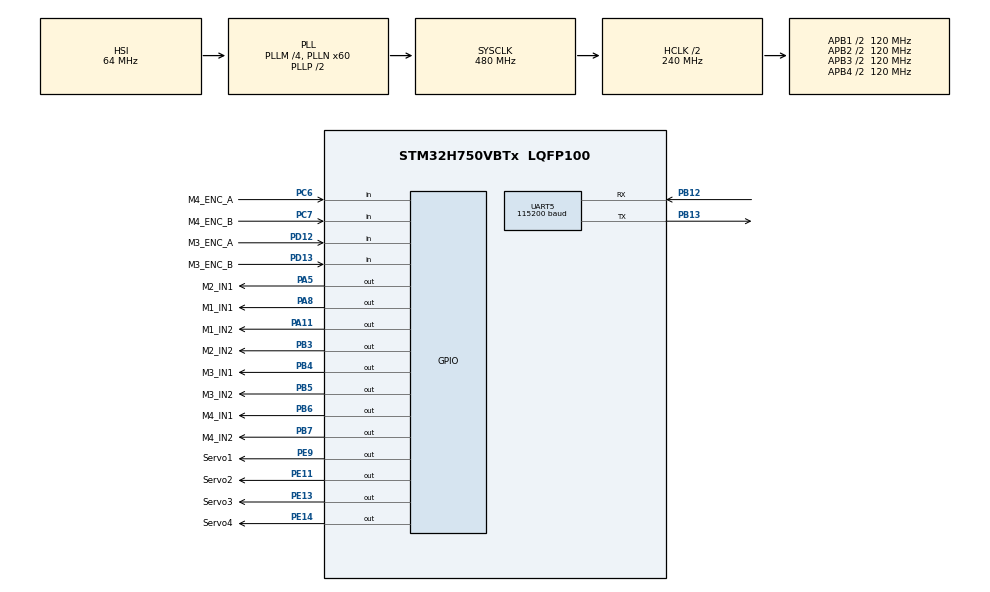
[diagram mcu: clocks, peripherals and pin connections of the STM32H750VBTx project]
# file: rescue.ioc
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CORTEX_M7.default_mode_Activation=1
FREERTOS.Tasks01=robot_task,16,256,robot_task_entry,Default,NULL,Dynamic,NULL,NULL;debug_task,8,768,debug_task_entry,Default,NULL,Dynamic,NULL,NULL
FREERTOS.configUSE_NEWLIB_REENTRANT=1
Mcu.Family=STM32H7
Mcu.Name=STM32H750VBTx
Mcu.Package=LQFP100
NVIC.PriorityGroup=NVIC_PRIORITYGROUP_4
NVIC.TIM17_IRQn=true\:15\:0\:false\:false\:true\:false\:false\:true\:true
NVIC.TimeBase=TIM17_IRQn
NVIC.TimeBaseIP=TIM17
NVIC.UART5_IRQn=true\:7\:0\:true\:false\:true\:false\:true\:true\:true
PA11.GPIO_Label=M1_IN2
PA11.GPIO_PuPd=GPIO_PULLDOWN
PA11.Signal=GPIO_Output
PA13.Mode=Serial_Wire
PA13.Signal=SYS_JTMS-SWDIO
PA14.Mode=Serial_Wire
PA14.Signal=SYS_JTCK-SWCLK
PA5.GPIO_Label=M2_IN1
PA5.GPIO_PuPd=GPIO_PULLDOWN
PA5.Signal=GPIO_Output
PA8.GPIO_Label=M1_IN1
PA8.GPIO_PuPd=GPIO_PULLDOWN
PA8.Signal=GPIO_Output
PB12.Mode=Asynchronous
PB12.Signal=UART5_RX
PB13.Mode=Asynchronous
PB13.Signal=UART5_TX
PB3.GPIO_Label=M2_IN2
PB3.GPIO_PuPd=GPIO_PULLDOWN
PB3.Signal=GPIO_Output
PB4.GPIO_Label=M3_IN1
PB4.GPIO_PuPd=GPIO_PULLDOWN
PB4.Signal=GPIO_Output
PB5.GPIO_Label=M3_IN2
PB5.GPIO_PuPd=GPIO_PULLDOWN
PB5.Signal=GPIO_Output
PB6.GPIO_Label=M4_IN1
PB6.GPIO_PuPd=GPIO_PULLDOWN
PB6.Signal=GPIO_Output
PB7.GPIO_Label=M4_IN2
PB7.GPIO_PuPd=GPIO_PULLDOWN
PB7.Signal=GPIO_Output
PC6.GPIO_Label=M4_ENC_A
PC6.GPIO_PuPd=GPIO_NOPULL
PC6.Signal=GPIO_Input
PC7.GPIO_Label=M4_ENC_B
PC7.GPIO_PuPd=GPIO_NOPULL
PC7.Signal=GPIO_Input
PD12.GPIO_Label=M3_ENC_A
PD12.GPIO_PuPd=GPIO_NOPULL
PD12.Signal=GPIO_Input
PD13.GPIO_Label=M3_ENC_B
PD13.GPIO_PuPd=GPIO_NOPULL
PD13.Signal=GPIO_Input
PE11.GPIO_Label=Servo2
PE11.GPIO_PuPd=GPIO_PULLDOWN
PE11.Signal=GPIO_Output
PE13.GPIO_Label=Servo3
PE13.GPIO_PuPd=GPIO_PULLDOWN
PE13.Signal=GPIO_Output
PE14.GPIO_Label=Servo4
PE14.GPIO_PuPd=GPIO_PULLDOWN
PE14.Signal=GPIO_Output
PE9.GPIO_Label=Servo1
PE9.GPIO_PuPd=GPIO_PULLDOWN
PE9.Signal=GPIO_Output
ProjectManager.HeapSize=0x200
ProjectManager.StackSize=0x400
ProjectManager.TargetToolchain=STM32CubeIDE
RCC.ADCFreq_Value=129000000
RCC.APB1Freq_Value=120000000
RCC.APB2Freq_Value=120000000
RCC.APB3Freq_Value=120000000
RCC.APB4Freq_Value=120000000
RCC.CortexFreq_Value=480000000
RCC.D1PPRE=RCC_APB3_DIV2
RCC.D2PPRE1=RCC_APB1_DIV2
RCC.D2PPRE2=RCC_APB2_DIV2
RCC.D3PPRE=RCC_APB4_DIV2
RCC.DIVM1=4
RCC.DIVN1=60
RCC.DIVQ1=15
RCC.HCLKFreq_Value=240000000
RCC.HPRE=RCC_HCLK_DIV2
RCC.HSE_VALUE=4000000
RCC.PLL2FRACN=0
RCC.PLL3FRACN=0
RCC.PLLFRACN=0
RCC.SYSCLKFreq_VALUE=480000000
RCC.SYSCLKSource=RCC_SYSCLKSOURCE_PLLCLK
RCC.USBCLockSelection=RCC_USBCLKSOURCE_HSI48
RCC.USBFreq_Value=48000000
SYS.Debug=Serial_Wire
UART5.BaudRate=115200
VP_FREERTOS_VS_CMSIS_V2.Mode=CMSIS_V2
VP_MEMORYMAP_VS_MEMORYMAP.Mode=CurAppReg
VP_SYS_VS_tim17.Mode=TIM17
board=custom

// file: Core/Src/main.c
/* USER CODE BEGIN Header */
/**
  ******************************************************************************
  * @file           : main.c
  * @brief          : Main program body
  ******************************************************************************
  * @attention
  *
  * Copyright (c) 2026 STMicroelectronics.
  * All rights reserved.
  *
  * This software is licensed under terms that can be found in the LICENSE file
  * in the root directory of this software component.
  * If no LICENSE file comes with this software, it is provided AS-IS.
  *
  ******************************************************************************
  */
/* USER CODE END Header */
#include "main.h"
#include "cmsis_os.h"
#include "gpio.h"

/* USER CODE BEGIN Includes */
#include "usart.h"
#include "robot_app.h"
#include "bsp/board_outputs.h"

/* USER CODE END Includes */

void SystemClock_Config(void);
static void MPU_Config(void);
void MX_FREERTOS_Init(void);

int main(void)
{

  /* USER CODE BEGIN 1 */
  /* 时钟和 HAL 初始化之前先固定新版驱动输入。 */
  board_outputs_disable();

  /* USER CODE END 1 */

  /* MPU Configuration--------------------------------------------------------*/
  MPU_Config();

  /* MCU Configuration--------------------------------------------------------*/

  /* Reset of all peripherals, Initializes the Flash interface and the Systick. */
  HAL_Init();

  /* Configure the system clock */
  SystemClock_Config();

  /* Initialize all configured peripherals */
  MX_GPIO_Init();
  MX_UART5_Init();

  /* Init scheduler */
  osKernelInitialize();  /* Call init function for freertos objects (in cmsis_os2.c) */
  MX_FREERTOS_Init();

  /* Start scheduler */
  osKernelStart();

  /* We should never get here as control is now taken by the scheduler */

  /* Infinite loop */
  /* USER CODE BEGIN WHILE */
  /* 调度器启动失败时进入错误入口，避免静默停留在空循环。 */
  Error_Handler();
  while (1)
  {
    /* USER CODE END WHILE */

  }
}

void SystemClock_Config(void)
{
  RCC_OscInitTypeDef RCC_OscInitStruct = {0};
  RCC_ClkInitTypeDef RCC_ClkInitStruct = {0};

  /** Supply configuration update enable
  */
  HAL_PWREx_ConfigSupply(PWR_LDO_SUPPLY);

  /** Configure the main internal regulator output voltage
  */
  __HAL_PWR_VOLTAGESCALING_CONFIG(PWR_REGULATOR_VOLTAGE_SCALE0);

  while(!__HAL_PWR_GET_FLAG(PWR_FLAG_VOSRDY)) {}

  /** Initializes the RCC Oscillators according to the specified parameters
  * in the RCC_OscInitTypeDef structure.
  */
  RCC_OscInitStruct.OscillatorType = RCC_OSCILLATORTYPE_HSI;
  RCC_OscInitStruct.HSIState = RCC_HSI_DIV1;
  RCC_OscInitStruct.HSICalibrationValue = RCC_HSICALIBRATION_DEFAULT;
  RCC_OscInitStruct.PLL.PLLState = RCC_PLL_ON;
  RCC_OscInitStruct.PLL.PLLSource = RCC_PLLSOURCE_HSI;
  RCC_OscInitStruct.PLL.PLLM = 4;
  RCC_OscInitStruct.PLL.PLLN = 60;
  RCC_OscInitStruct.PLL.PLLP = 2;
  RCC_OscInitStruct.PLL.PLLQ = 15;
  RCC_OscInitStruct.PLL.PLLR = 2;
  RCC_OscInitStruct.PLL.PLLRGE = RCC_PLL1VCIRANGE_3;
  RCC_OscInitStruct.PLL.PLLVCOSEL = RCC_PLL1VCOWIDE;
  RCC_OscInitStruct.PLL.PLLFRACN = 0;
  if (HAL_RCC_OscConfig(&RCC_OscInitStruct) != HAL_OK)
  {
    Error_Handler();
  }

  /** Initializes the CPU, AHB and APB buses clocks
  */
  RCC_ClkInitStruct.ClockType = RCC_CLOCKTYPE_HCLK|RCC_CLOCKTYPE_SYSCLK
                              |RCC_CLOCKTYPE_PCLK1|RCC_CLOCKTYPE_PCLK2
                              |RCC_CLOCKTYPE_D3PCLK1|RCC_CLOCKTYPE_D1PCLK1;
  RCC_ClkInitStruct.SYSCLKSource = RCC_SYSCLKSOURCE_PLLCLK;
  RCC_ClkInitStruct.SYSCLKDivider = RCC_SYSCLK_DIV1;
  RCC_ClkInitStruct.AHBCLKDivider = RCC_HCLK_DIV2;
  RCC_ClkInitStruct.APB3CLKDivider = RCC_APB3_DIV2;
  RCC_ClkInitStruct.APB1CLKDivider = RCC_APB1_DIV2;
  RCC_ClkInitStruct.APB2CLKDivider = RCC_APB2_DIV2;
  RCC_ClkInitStruct.APB4CLKDivider = RCC_APB4_DIV2;

  if (HAL_RCC_ClockConfig(&RCC_ClkInitStruct, FLASH_LATENCY_4) != HAL_OK)
  {
    Error_Handler();
  }
}

 /* MPU Configuration */

void MPU_Config(void)
{
  MPU_Region_InitTypeDef MPU_InitStruct = {0};

  /* Disables the MPU */
  HAL_MPU_Disable();

  /** Initializes and configures the Region and the memory to be protected
  */
  MPU_InitStruct.Enable = MPU_REGION_ENABLE;
  MPU_InitStruct.Number = MPU_REGION_NUMBER0;
  MPU_InitStruct.BaseAddress = 0x0;
  MPU_InitStruct.Size = MPU_REGION_SIZE_4GB;
  MPU_InitStruct.SubRegionDisable = 0x87;
  MPU_InitStruct.TypeExtField = MPU_TEX_LEVEL0;
  MPU_InitStruct.AccessPermission = MPU_REGION_NO_ACCESS;
  MPU_InitStruct.DisableExec = MPU_INSTRUCTION_ACCESS_DISABLE;
  MPU_InitStruct.IsShareable = MPU_ACCESS_SHAREABLE;
  MPU_InitStruct.IsCacheable = MPU_ACCESS_NOT_CACHEABLE;
  MPU_InitStruct.IsBufferable = MPU_ACCESS_NOT_BUFFERABLE;

  HAL_MPU_ConfigRegion(&MPU_InitStruct);
  /* Enables the MPU */
  HAL_MPU_Enable(MPU_PRIVILEGED_DEFAULT);

}

void HAL_TIM_PeriodElapsedCallback(TIM_HandleTypeDef *htim)
{
  if (htim->Instance == TIM17)
  {
    HAL_IncTick();
  }
}

void Error_Handler(void)
{
  /* USER CODE BEGIN Error_Handler_Debug */
  /* 故障时直接将全部驱动输入拉低，不依赖任务调度。 */
  __disable_irq();
  board_outputs_disable();
  while (1)
  {
  }
  /* USER CODE END Error_Handler_Debug */
}

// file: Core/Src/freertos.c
/* USER CODE BEGIN Header */
/**
  ******************************************************************************
  * File Name          : freertos.c
  * Description        : Code for freertos applications
  ******************************************************************************
  * @attention
  *
  * Copyright (c) 2026 STMicroelectronics.
  * All rights reserved.
  *
  * This software is licensed under terms that can be found in the LICENSE file
  * in the root directory of this software component.
  * If no LICENSE file comes with this software, it is provided AS-IS.
  *
  ******************************************************************************
  */
/* USER CODE END Header */

#include "FreeRTOS.h"
#include "task.h"
#include "main.h"
#include "cmsis_os.h"

/* USER CODE BEGIN Includes */
#include "robot_app.h"
#include "debug/debug_console.h"
/* USER CODE END Includes */

/* Definitions for robot_task */
osThreadId_t robot_taskHandle;
const osThreadAttr_t robot_task_attributes = {
  .name = "robot_task",
  .stack_size = 256 * 4,
  .priority = (osPriority_t) osPriorityBelowNormal,
};

/* Definitions for debug_task */
osThreadId_t debug_taskHandle;
const osThreadAttr_t debug_task_attributes = {
  .name = "debug_task",
  .stack_size = 768 * 4,
  .priority = (osPriority_t) osPriorityLow,
};

void robot_task_entry(void *argument);
void debug_task_entry(void *argument);

void MX_FREERTOS_Init(void); /* (MISRA C 2004 rule 8.1) */

void MX_FREERTOS_Init(void) {
  /* USER CODE BEGIN Init */
  /* 基础时基固定为 1 ms 的 RTOS 节拍，初始化失败时不创建应用任务。 */
  if (osKernelGetState() != osKernelReady || osKernelGetTickFreq() != 1000U)
  {
    Error_Handler();
  }
  /* USER CODE END Init */

  /* Create the thread(s) */
  /* creation of robot_task */
  robot_taskHandle = osThreadNew(robot_task_entry, NULL, &robot_task_attributes);

  /* creation of debug_task */
  debug_taskHandle = osThreadNew(debug_task_entry, NULL, &debug_task_attributes);

  /* USER CODE BEGIN RTOS_THREADS */
  if (robot_taskHandle == NULL || debug_taskHandle == NULL)
  {
    Error_Handler();
  }
  /* USER CODE END RTOS_THREADS */

}

void robot_task_entry(void *argument)
{
  /* USER CODE BEGIN robot_task_entry */
  (void)argument;
  robot_app_run();
  /* USER CODE END robot_task_entry */
}

void debug_task_entry(void *argument)
{
  /* USER CODE BEGIN debug_task_entry */
  (void)argument;
  debug_console_run();
  /* USER CODE END debug_task_entry */
}
